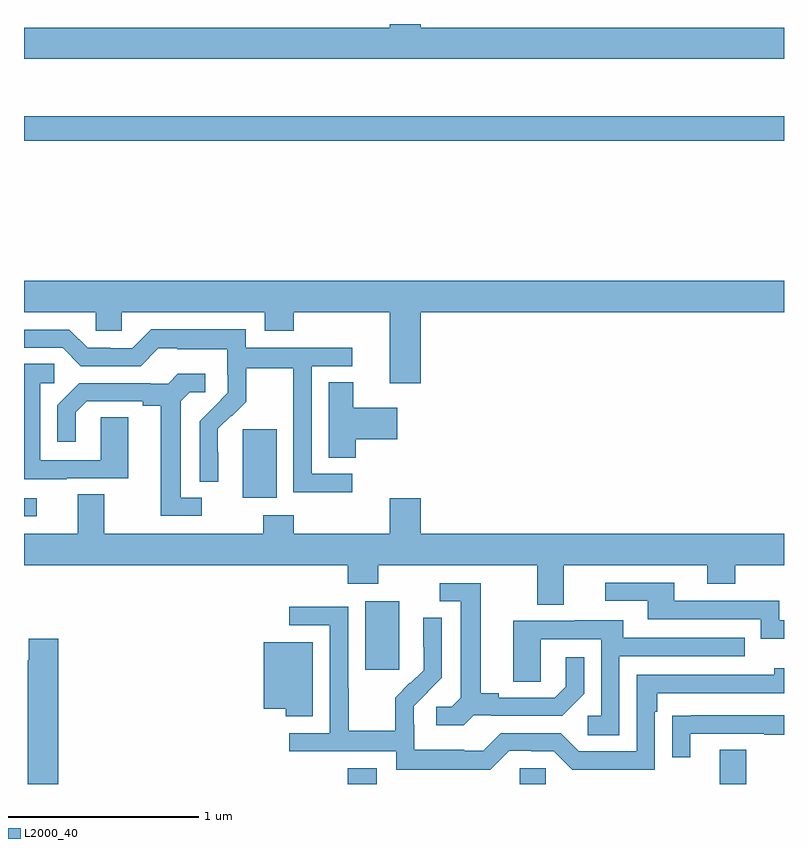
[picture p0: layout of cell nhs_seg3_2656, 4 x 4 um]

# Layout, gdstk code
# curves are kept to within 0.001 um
import gdstk
lib = gdstk.Library(unit=1e-6, precision=1e-09)
def R(c, l, rs):  # rectangles x0, y0, x1, y1
    for r in rs: c.add(gdstk.rectangle(r[:2], r[2:], *l))
def P(c, l, *ps):  # polygons
    for p in ps: c.add(gdstk.Polygon(p, *l))
L2000_40 = (2000, 40)

nhs_seg3_2656 = lib.new_cell('nhs_seg3_2656')
R(nhs_seg3_2656, L2000_40, [(248.705,730.4,248.857,730.483), (249.609,730.4,249.747,730.482), (250.661,730.4,250.801,730.579), (248.795,731.001,248.974,731.362), (247,731.808,247.066,731.904), (248.15,731.906,248.329,732.267), (247,733.786,251,733.915)])
P(nhs_seg3_2656, L2000_40, [(251,734.38),(249.088,734.38),(249.088,734.4),(248.924,734.4),(248.924,734.38),(247,734.38),(247,734.216),(251,734.216)],
  [(247,732.884),(247.377,732.884),(247.377,732.786),(247.515,732.786),(247.515,732.884),(248.267,732.884),(248.267,732.785),(248.42,732.785),(248.42,732.884),(248.924,732.884),(248.924,732.51),(249.088,732.51),(249.088,732.884),(251,732.884),(251,733.048),(247,733.048)],
  [(248.728,732.033),(248.514,732.033),(248.514,732.6),(248.728,732.6),(248.728,732.696),(248.166,732.696),(248.166,732.793),(247.669,732.793),(247.569,732.693),(247.454,732.693),(247.454,732.696),(247.335,732.696),(247.239,732.792),(247,732.792),(247,732.696),(247.203,732.696),(247.299,732.6),(247.614,732.6),(247.707,732.693),(247.807,732.693),(247.807,732.689),(248.07,732.689),(248.07,732.555),(248.072,732.555),(248.072,732.458),(247.926,732.31),(247.926,731.992),(248.022,731.992),(248.021,732.269),(248.091,732.339),(248.094,732.336),(248.171,732.413),(248.171,732.588),(248.416,732.588),(248.416,732.364),(248.418,732.364),(248.418,731.935),(248.728,731.935)],
  [(247.225,732.009),(247.549,732.009),(247.549,732.329),(247.404,732.329),(247.404,732.105),(247.086,732.105),(247.086,732.51),(247.159,732.51),(247.159,732.611),(247,732.611),(247,732.005),(247.225,732.005)],
  [(247.936,731.907),(247.825,731.907),(247.825,732.415),(247.872,732.462),(247.954,732.462),(247.954,732.559),(247.81,732.559),(247.758,732.507),(247.664,732.507),(247.664,732.51),(247.292,732.51),(247.176,732.394),(247.176,732.201),(247.273,732.201),(247.273,732.357),(247.33,732.414),(247.625,732.414),(247.625,732.392),(247.721,732.392),(247.721,731.811),(247.936,731.811)],
  [(248.747,732.214),(248.965,732.214),(248.965,732.379),(248.734,732.379),(248.734,732.515),(248.603,732.515),(248.603,732.118),(248.747,732.118)],
  [(249.841,731.552),(250.595,731.552),(250.595,731.453),(250.743,731.453),(250.743,731.552),(251,731.552),(251,731.716),(249.088,731.716),(249.088,731.905),(248.924,731.905),(248.924,731.716),(248.42,731.716),(248.42,731.815),(248.26,731.815),(248.26,731.716),(247.423,731.716),(247.423,731.924),(247.283,731.924),(247.283,731.716),(247,731.716),(247,731.552),(248.705,731.552),(248.705,731.453),(248.865,731.453),(248.865,731.552),(249.701,731.552),(249.701,731.344),(249.841,731.344)],
  [(251,731.262),(250.974,731.262),(250.974,731.364),(250.423,731.364),(250.423,731.46),(250.059,731.46),(250.059,731.364),(250.283,731.364),(250.283,731.268),(250.878,731.268),(250.878,731.165),(251,731.165)],
  [(249.366,730.761),(249.46,730.761),(249.46,730.758),(249.832,730.758),(249.948,730.874),(249.948,731.068),(249.851,731.068),(249.851,730.911),(249.794,730.854),(249.499,730.854),(249.499,730.877),(249.403,730.877),(249.403,731.457),(249.189,731.457),(249.189,731.361),(249.299,731.361),(249.299,730.853),(249.252,730.806),(249.171,730.806),(249.171,730.709),(249.314,730.709)],
  [(249.555,730.575),(249.671,730.575),(249.671,730.572),(249.789,730.572),(249.885,730.476),(250.32,730.476),(250.32,730.781),(250.333,730.781),(250.333,730.878),(251,730.878),(251,731.008),(250.949,731.008),(250.949,730.974),(250.224,730.974),(250.224,730.572),(249.921,730.572),(249.825,730.668),(249.51,730.668),(249.417,730.575),(249.317,730.575),(249.317,730.579),(249.054,730.579),(249.054,730.713),(249.052,730.713),(249.052,730.81),(249.198,730.958),(249.198,731.276),(249.102,731.276),(249.102,731.122),(249.104,731.122),(249.104,731),(249.033,730.929),(249.03,730.932),(248.953,730.855),(248.953,730.681),(248.709,730.681),(248.709,730.904),(248.706,730.904),(248.706,731.334),(248.397,731.334),(248.397,731.235),(248.61,731.235),(248.61,730.668),(248.397,730.668),(248.397,730.572),(248.958,730.572),(248.958,730.475),(249.455,730.475)],
  [(250.134,731.073),(250.793,731.073),(250.793,731.169),(250.153,731.169),(250.153,731.263),(249.899,731.263),(249.899,731.259),(249.575,731.259),(249.575,730.939),(249.72,730.939),(249.72,731.163),(250.038,731.163),(250.038,730.758),(249.966,730.758),(249.966,730.657),(250.134,730.657)],
  [(247.181,731.164),(247.025,731.164),(247.025,731.051),(247.021,731.051),(247.021,730.4),(247.181,730.4)],
  [(248.521,731.146),(248.261,731.146),(248.261,730.796),(248.378,730.796),(248.378,730.757),(248.521,730.757)],
  [(250.507,730.665),(250.897,730.665),(250.897,730.66),(251,730.66),(251,730.761),(250.513,730.761),(250.513,730.76),(250.411,730.76),(250.411,730.542),(250.507,730.542)])

lib.write_gds('nhs_seg3_2656.gds')
